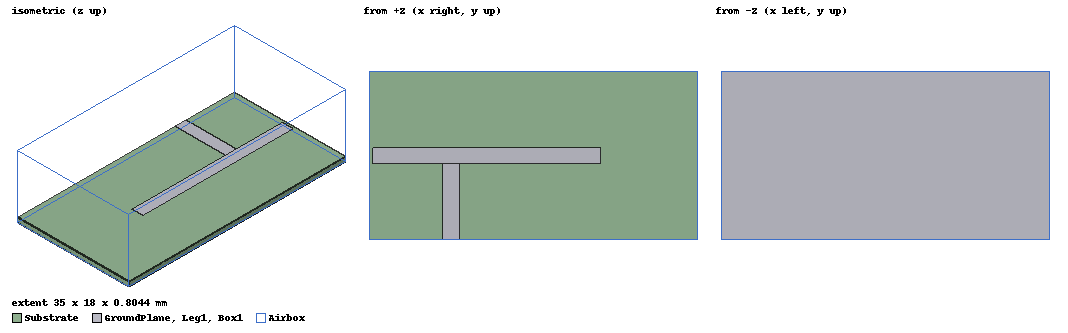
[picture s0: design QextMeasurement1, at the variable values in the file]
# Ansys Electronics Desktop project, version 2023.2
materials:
  vacuum: permittivity=1
  Rogers RO4003 (tm): permittivity=3.55 dielectric_loss_tangent=0.0027
  copper: permeability=0.999991 conductivity=58000000
  pec: conductivity=1e+30
  LossLess-Rogers RO4003 (tm): permittivity=3.55

design QextMeasurement (HFSS, HFSS Modal Network, model units mm)
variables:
  AirboxWidth = 25mm
  MicrostripWidth = 1.68mm
  Thickness = 31mil
  Len = 24.27065996mm
  LegR1 = 0.39
  BridgeR2 = 0.22
  R1x = 35mm/2 - Len/2
  R1y = AirboxWidth/2 - BridgeR2*Len/2
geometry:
  Substrate [LossLess-Rogers RO4003 (tm)] = box(corner=(0mm, 0mm, 17um), size=(AirboxWidth, AirboxWidth, Thickness-17um))
  Airbox [vacuum] = box(corner=(0mm, 0mm, 0mm), size=(Airboxwidth, AirboxWidth, 100mil))
  GroundPlane [pec] = box(corner=(0mm, 0mm, 0mm), size=(AirboxWidth, AirboxWidth, 17um))
  Leg1 [pec] = box(corner=(MicrostripWidth+R1x, R1y, Thickness), size=(Len*LegR1, MicrostripWidth, 17um))
  Bridge [pec] = box(corner=(R1x, R1y, Thickness), size=(MicrostripWidth, Len*BridgeR2, 17um))
  Leg2 [pec] = box(corner=(MicrostripWidth+R1x, R1y+BridgeR2*Len-MicrostripWidth, Thickness), size=(Len*(1-LegR1-BridgeR2), MicrostripWidth, 17um))
  Box1 [pec] = box(corner=(8mm, 0mm, Thickness), size=(MicrostripWidth, R1y, 17um))
  Box2 [pec] = box(corner=(8m, AirboxWidth-R1y, Thickness), size=(MicrostripWidth, R1y, 17um))
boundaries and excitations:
  1: Wave Port Faces=Airbox.face(-y) WavePortType=Modal NumModes=1 Modes{Mode1{CharImp=Zpi}}
  2: Wave Port Faces=Airbox.face(+y) WavePortType=Modal NumModes=1 Modes{Mode1{CharImp=Zpi}}
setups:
  Setup1: HfssDriven Frequency=3.6GHz MaxDeltaS=0.005 MaximumPasses=10 MinimumPasses=1 MinimumConvergedPasses=1 PercentRefinement=30 BasisOrder=1 PortAccuracy=2 DrivenSolverType="Direct Solver"
    sweep Sweep: 1.8GHz to 5.4GHz, 401 points; Type=Interpolating InterpTolerance=0.5 InterpMaxSolns=250 InterpUsePortImped=false PassivityErrorTolerance=0.0001
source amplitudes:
  1:1: 1V 0deg
  2:1: 0V 0deg
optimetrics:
  ParametricSetup1: Parametric Sim._Setups=[Setup1]
    sweep MicrostripWidth: LIN 1.65mm 1.7mm 0.01mm
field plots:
  Mag_E1: E Field in Airbox on Setup1 : LastAdaptive at Freq=3.6GHz Phase=0deg
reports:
  S Parameter Plot 1: dB(S(1,1)) vs Freq on Setup1 : Sweep; markers MX1 at x=3.6e+09
  S Parameter Plot 2: dB(S(2,1)) vs Freq on Setup1 : Sweep
  S Parameter Plot 3: dB(S(1,1)) vs Freq on Setup1 : Sweep [AirboxWidth=all BridgeR2=all]

design QextMeasurement1 (HFSS, HFSS Modal Network, model units mm)
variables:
  AirboxWidth = 18mm
  MicrostripWidth = 1.75mm
  Thickness = 31mil
  Len = 24.27065996mm
  LegR1 = 1
  BridgeR2 = 0.35
  R1x = 25mm/2 - Len/2
  R1y = AirboxWidth/2 - MicrostripWidth/2
  FeedPosition = 7.8081mm
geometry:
  Substrate [LossLess-Rogers RO4003 (tm)] = box(corner=(0mm, 0mm, 17um), size=(35mm, AirboxWidth, Thickness-17um))
  Airbox [vacuum] = box(corner=(0mm, 0mm, 0mm), size=(35mm, AirboxWidth, 400mil))
  GroundPlane [pec] = box(corner=(0mm, 0mm, 0mm), size=(35mm, AirboxWidth, 17um))
  Leg1 [pec] = box(corner=(R1x, R1y, Thickness), size=(Len*LegR1, MicrostripWidth, 17um))
  Box1 [pec] = box(corner=(FeedPosition, 0mm, Thickness), size=(1.75mm, R1y, 17um))
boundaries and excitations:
  1: Wave Port Faces=Airbox.face(-y) WavePortType=Modal NumModes=1 Modes{Mode1{CharImp=Zpi}}
  2: Wave Port Faces=Airbox.face(+y) WavePortType=Modal NumModes=1 Modes{Mode1{CharImp=Zpi}}
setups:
  Setup1: HfssDriven Frequency=3.6GHz MaxDeltaS=0.005 MaximumPasses=10 MinimumPasses=1 MinimumConvergedPasses=1 PercentRefinement=30 BasisOrder=1 PortAccuracy=2 DrivenSolverType="Direct Solver"
    sweep Sweep: 1.8GHz to 5.4GHz, 401 points; Type=Interpolating InterpTolerance=0.5 InterpMaxSolns=250 InterpUsePortImped=false PassivityErrorTolerance=0.0001
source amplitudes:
  1:1: 1V 0deg
  2:1: 0V 0deg
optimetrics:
  ParametricSetup1: Parametric Sim._Setups=[Setup1]
    sweep FeedPosition: LIN 4mm 12mm 2mm
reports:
  S Parameter Plot 4: dB(S(2,1)) vs Freq on Setup1 : Sweep [FeedPosition=all]; markers MX1 at x=3.4658208e+09, MY1 at y=-14.06
